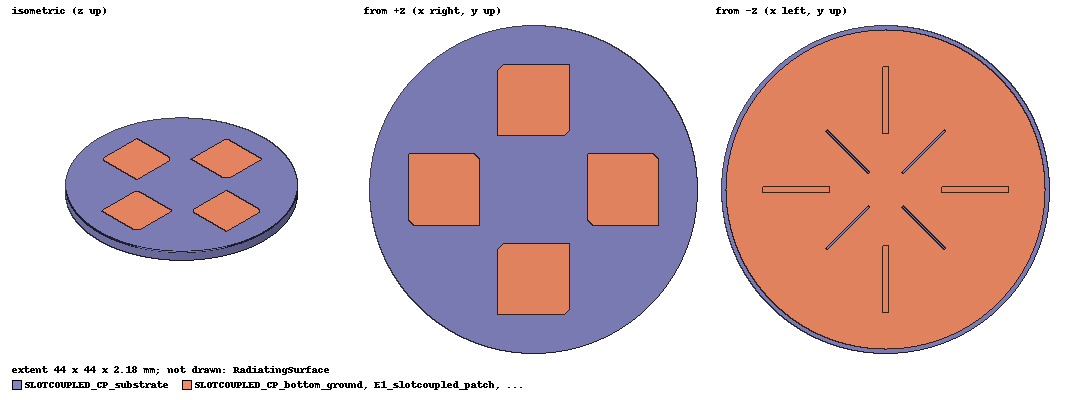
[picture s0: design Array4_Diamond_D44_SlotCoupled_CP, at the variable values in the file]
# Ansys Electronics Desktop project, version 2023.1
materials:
  vacuum: permittivity=1
  RO4350B_custom_D44_Topology: permittivity=3.48 permeability=1 dielectric_loss_tangent=0.0037
  copper: permeability=0.999991 conductivity=58000000
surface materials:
  Steel-oxidised-surface

design Array4_Diamond_D44_SlotCoupled_CP (HFSS, HFSS Modal Network, model units mm)
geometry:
  SLOTCOUPLED_CP_substrate [RO4350B_custom_D44_Topology] = cylinder(axis=Z, base_centre=(0mm, 0mm, 0mm), radius=22mm, height=2mm, segments=128)
  SLOTCOUPLED_CP_bottom_ground [copper] = circle(normal=Z, centre=(0mm, 0mm, 0mm), radius=21.4mm, segments=128)
  ground_isolation_slot_1 = polyline(z=0mm, xy in mm: (2.3864854, 2.138998) (8.0433396, 7.7958523) (7.7958523, 8.0433396) (2.138998, 2.3864854) (2.3864854, 2.138998), closed, covered)
  ground_isolation_slot_2 = polyline(z=0mm, xy in mm: (-2.138998, 2.3864854) (-7.7958523, 8.0433396) (-8.0433396, 7.7958523) (-2.3864854, 2.138998) (-2.138998, 2.3864854), closed, covered)
  ground_isolation_slot_3 = polyline(z=0mm, xy in mm: (-2.3864854, -2.138998) (-8.0433396, -7.7958523) (-7.7958523, -8.0433396) (-2.138998, -2.3864854) (-2.3864854, -2.138998), closed, covered)
  ground_isolation_slot_4 = polyline(z=0mm, xy in mm: (2.138998, -2.3864854) (7.7958523, -8.0433396) (8.0433396, -7.7958523) (2.3864854, -2.138998) (2.138998, -2.3864854), closed, covered)
  E1_slotcoupled_patch [copper] = polyline(z=2mm, xy in mm: (7.9658153, -4.775) (16.795815, -4.775) (16.795815, 4.055) (16.075815, 4.775) (7.2458153, 4.775) (7.2458153, -4.055) (7.9658153, -4.775), closed, covered)
  E1_aperture_slot = polyline(z=0mm, xy in mm: (9.9208153, -0.275) (14.120815, -0.275) (14.120815, 0.275) (9.9208153, 0.275) (9.9208153, -0.275), closed, covered)
  E1_underside_feedline [copper] = polyline(z=-0.18mm, xy in mm: (7.5208153, -0.35) (16.520815, -0.35) (16.520815, 0.35) (7.5208153, 0.35) (7.5208153, -0.35), closed, covered)
  P1_lumped_port_sheet = polyline(x=7.5208153mm, yz in mm: (-0.35, -0.18) (0.35, -0.18) (0.35, 0) (-0.35, 0) (-0.35, -0.18), closed, covered)
  E2_slotcoupled_patch [copper] = polyline(z=2mm, xy in mm: (4.775, 7.9658153) (4.775, 16.795815) (-4.055, 16.795815) (-4.775, 16.075815) (-4.775, 7.2458153) (4.055, 7.2458153) (4.775, 7.9658153), closed, covered)
  E2_aperture_slot = polyline(z=0mm, xy in mm: (0.275, 9.9208153) (0.275, 14.120815) (-0.275, 14.120815) (-0.275, 9.9208153) (0.275, 9.9208153), closed, covered)
  E2_underside_feedline [copper] = polyline(z=-0.18mm, xy in mm: (0.35, 7.5208153) (0.35, 16.520815) (-0.35, 16.520815) (-0.35, 7.5208153) (0.35, 7.5208153), closed, covered)
  P2_lumped_port_sheet = polyline(y=7.5208153mm, xz in mm: (0.35, -0.18) (-0.35, -0.18) (-0.35, 0) (0.35, 0) (0.35, -0.18), closed, covered)
  E3_slotcoupled_patch [copper] = polyline(z=2mm, xy in mm: (-7.9658153, 4.775) (-16.795815, 4.775) (-16.795815, -4.055) (-16.075815, -4.775) (-7.2458153, -4.775) (-7.2458153, 4.055) (-7.9658153, 4.775), closed, covered)
  E3_aperture_slot = polyline(z=0mm, xy in mm: (-9.9208153, 0.275) (-14.120815, 0.275) (-14.120815, -0.275) (-9.9208153, -0.275) (-9.9208153, 0.275), closed, covered)
  E3_underside_feedline [copper] = polyline(z=-0.18mm, xy in mm: (-7.5208153, 0.35) (-16.520815, 0.35) (-16.520815, -0.35) (-7.5208153, -0.35) (-7.5208153, 0.35), closed, covered)
  P3_lumped_port_sheet = polyline(x=-7.5208153mm, yz in mm: (0.35, -0.18) (-0.35, -0.18) (-0.35, 0) (0.35, 0) (0.35, -0.18), closed, covered)
  E4_slotcoupled_patch [copper] = polyline(z=2mm, xy in mm: (-4.775, -7.9658153) (-4.775, -16.795815) (4.055, -16.795815) (4.775, -16.075815) (4.775, -7.2458153) (-4.055, -7.2458153) (-4.775, -7.9658153), closed, covered)
  E4_aperture_slot = polyline(z=0mm, xy in mm: (-0.275, -9.9208153) (-0.275, -14.120815) (0.275, -14.120815) (0.275, -9.9208153) (-0.275, -9.9208153), closed, covered)
  E4_underside_feedline [copper] = polyline(z=-0.18mm, xy in mm: (-0.35, -7.5208153) (-0.35, -16.520815) (0.35, -16.520815) (0.35, -7.5208153) (-0.35, -7.5208153), closed, covered)
  P4_lumped_port_sheet = polyline(y=-7.5208153mm, xz in mm: (-0.35, -0.18) (0.35, -0.18) (0.35, 0) (-0.35, 0) (-0.35, -0.18), closed, covered)
  SLOTCOUPLED_CP_bottom_ground.subtract(ground_isolation_slot_1..ground_isolation_slot_4, E1_aperture_slot, E2_aperture_slot, E3_aperture_slot, E4_aperture_slot)
  RadiatingSurface [vacuum] = region(absolute_offset=14.285714mm on all sides)
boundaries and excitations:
  SLOTCOUPLED_CP_PEC_metallization: Perfect E Objects=[SLOTCOUPLED_CP_bottom_ground, E1_slotcoupled_patch, E1_underside_feedline, E2_slotcoupled_patch, E2_underside_feedline, E3_slotcoupled_patch, E3_underside_feedline, E4_slotcoupled_patch, E4_underside_feedline]
  Open1: Radiation Objects=RadiatingSurface
  P1: Lumped Port Objects=P1_lumped_port_sheet LumpedPortType=Modal Modes{Mode1{IntLine{(7.5208153, 0, 0) -> (7.5208153, 0, -0.18)} CharImp=Zpi RenormImp=50ohm}} Impedance=50ohm
  P2: Lumped Port Objects=P2_lumped_port_sheet LumpedPortType=Modal Modes{Mode1{IntLine{(0, 7.5208153, 0) -> (0, 7.5208153, -0.18)} CharImp=Zpi RenormImp=50ohm}} Impedance=50ohm
  P3: Lumped Port Objects=P3_lumped_port_sheet LumpedPortType=Modal Modes{Mode1{IntLine{(-7.5208153, 0, 0) -> (-7.5208153, 0, -0.18)} CharImp=Zpi RenormImp=50ohm}} Impedance=50ohm
  P4: Lumped Port Objects=P4_lumped_port_sheet LumpedPortType=Modal Modes{Mode1{IntLine{(0, -7.5208153, 0) -> (0, -7.5208153, -0.18)} CharImp=Zpi RenormImp=50ohm}} Impedance=50ohm
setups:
  Setup_CH9: HfssDriven Frequency=8GHz MaxDeltaS=0.05 MaximumPasses=4 MinimumPasses=1 MinimumConvergedPasses=1 PercentRefinement=30 BasisOrder=1 PortAccuracy=2 DrivenSolverType="Direct Solver"
    sweep Sweep_CH9: 7.738GHz to 8.233GHz, 3 points; Type=Discrete SaveFields SaveRadFields
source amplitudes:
  P1:1: 1W 0deg
  P2:1, P3:1, P4:1: 0W 0deg
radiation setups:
  3D: Infinite Sphere Theta=0deg..180deg step 2deg Phi=-180deg..180deg step 2deg
  Elevation: Infinite Sphere Theta=-180deg..180deg step 1deg Phi=0deg..90deg step 90deg
  Azimuth: Infinite Sphere Theta=90deg..90deg step 0deg Phi=-180deg..180deg step 1deg
  Upper_Hemisphere_5deg: Infinite Sphere Theta=0deg..360deg step 5deg Phi=0deg..90deg step 5deg
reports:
  SLOTCOUPLED_CP_S_Parameters: dB(S(P3:1,P3:1)), dB(S(P4:1,P4:1)), dB(S(P2:1,P2:1)), dB(S(P1:1,P1:1)), dB(S(P3:1,P4:1)), dB(S(P3:1,P2:1)), dB(S(P3:1,P1:1)), dB(S(P4:1,P3:1)), dB(S(P4:1,P2:1)), dB(S(P4:1,P1:1)), dB(S(P2:1,P3:1)), dB(S(P2:1,P4:1)), dB(S(P2:1,P1:1)), dB(S(P1:1,P3:1)), dB(S(P1:1,P4:1)), dB(S(P1:1,P2:1)) vs Freq on Setup_CH9 : Sweep_CH9
  SLOTCOUPLED_CP_GainTotal_8GHz: dB(GainTotal) vs Phi, Theta on Setup_CH9 : Sweep_CH9, Upper_Hemisphere_5deg [Freq=8GHz]
  SLOTCOUPLED_CP_AxialRatio_8GHz: AxialRatioValue vs Phi, Theta on Setup_CH9 : Sweep_CH9, Upper_Hemisphere_5deg [Freq=8GHz]
